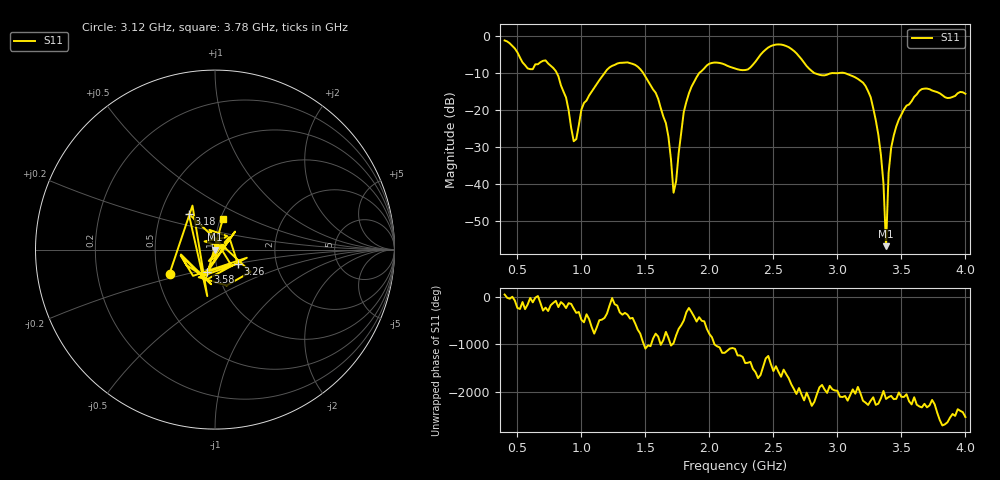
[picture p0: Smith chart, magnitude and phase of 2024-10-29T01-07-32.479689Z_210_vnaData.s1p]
!Created with skrf (http://scikit-rf.org).
# Hz S RI R 50.0
!freq ReS11 ImS11
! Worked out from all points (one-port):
!   181 points, 400 MHz to 4 GHz, reference 50 ohm
!   lowest |S11| = -56.9 dB at 3.38 GHz (marker M1), VSWR 1.00, Z = 50.1 + j0.0146 ohm
!   |S11| at or under -10 dB: 807.4 MHz to 1.182 GHz (374.1 MHz wide, 37.6 % of centre); 1.483 GHz to 1.921 GHz (438.6 MHz wide, 25.8 % of centre); 3.052 GHz to end of sweep (the widest 3 of 4)
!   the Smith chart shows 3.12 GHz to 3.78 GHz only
!   S11 on the Smith chart (normalised r, x): 3.12 GHz: 0.58, -0.17; 3.18 GHz: 0.69, +0.30; 3.26 GHz: 1.27, -0.20; 3.58 GHz: 0.89, -0.22; 3.78 GHz: 1.03, +0.36
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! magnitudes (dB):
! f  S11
! 400 MHz  -1.2
! 580 MHz  -8.8
! 720 MHz  -6.6
! 860 MHz  -15.1
! 940 MHz  -28.5
! 1.02 GHz  -18.1
! 1.3 GHz  -7.3
! 1.58 GHz  -15.4
! 1.68 GHz  -27.3
! 1.72 GHz  -42.4
! 1.76 GHz  -31.7
! 1.8 GHz  -20.5
! 1.92 GHz  -10.0
! 2.2 GHz  -8.8
! 2.66 GHz  -4.0
! 3.1 GHz  -10.6
! 3.12 GHz  -10.9
! 3.18 GHz  -12.1
! 3.26 GHz  -16.6
! 3.34 GHz  -32.2
! 3.36 GHz  -39.9
! 3.38 GHz  -56.9
! 3.4 GHz  -37.0
! 3.42 GHz  -30.3
! 3.56 GHz  -18.5
! 3.58 GHz  -17.7
! 3.78 GHz  -15.2
! 4 GHz  -15.6
